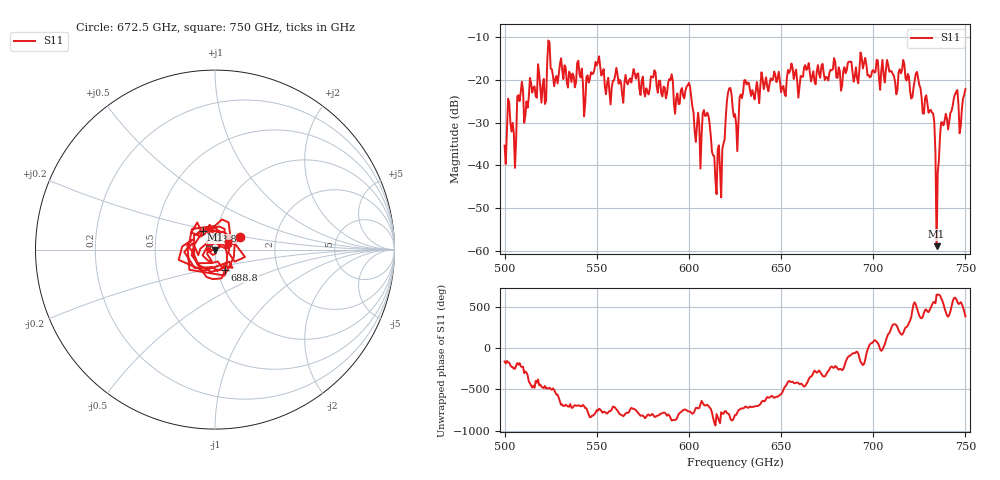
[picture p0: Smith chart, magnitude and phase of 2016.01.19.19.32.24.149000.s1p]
!Created with skrf (http://scikit-rf.org).
# GHz S RI R 50.0
!freq ReS11 ImS11
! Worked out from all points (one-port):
!   401 points, 500 GHz to 750 GHz, reference 50 ohm
!   lowest |S11| = -58.9 dB at 734.4 GHz (marker M1), VSWR 1.00, Z = 50 - j0.106 ohm
!   |S11| at or under -10 dB: start of sweep to end of sweep
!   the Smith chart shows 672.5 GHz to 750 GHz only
!   S11 on the Smith chart (normalised r, x): 672.5 GHz: 1.30, +0.19; 688.8 GHz: 1.09, -0.25; 723.8 GHz: 0.86, +0.18; 750 GHz: 1.15, +0.08
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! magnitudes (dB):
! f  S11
! 500 GHz  -35.4
! 503.1 GHz  -29.9
! 505 GHz  -32.5
! 508.1 GHz  -25.0
! 511.9 GHz  -25.0
! 521.2 GHz  -19.7
! 524.4 GHz  -11.2
! 531.2 GHz  -17.6
! 562.5 GHz  -20.0
! 590 GHz  -20.1
! 593.8 GHz  -23.1
! 600 GHz  -20.7
! 605 GHz  -27.7
! 609.4 GHz  -28.4
! 616.2 GHz  -35.3
! 621.9 GHz  -21.9
! 625 GHz  -28.0
! 631.2 GHz  -21.1
! 656.2 GHz  -17.1
! 672.5 GHz  -16.2
! 687.5 GHz  -15.7
! 688.8 GHz  -18.0
! 718.8 GHz  -18.6
! 723.8 GHz  -18.1
! 731.9 GHz  -27.7
! 734.4 GHz  -58.9
! 738.1 GHz  -30.6
! 750 GHz  -22.1
